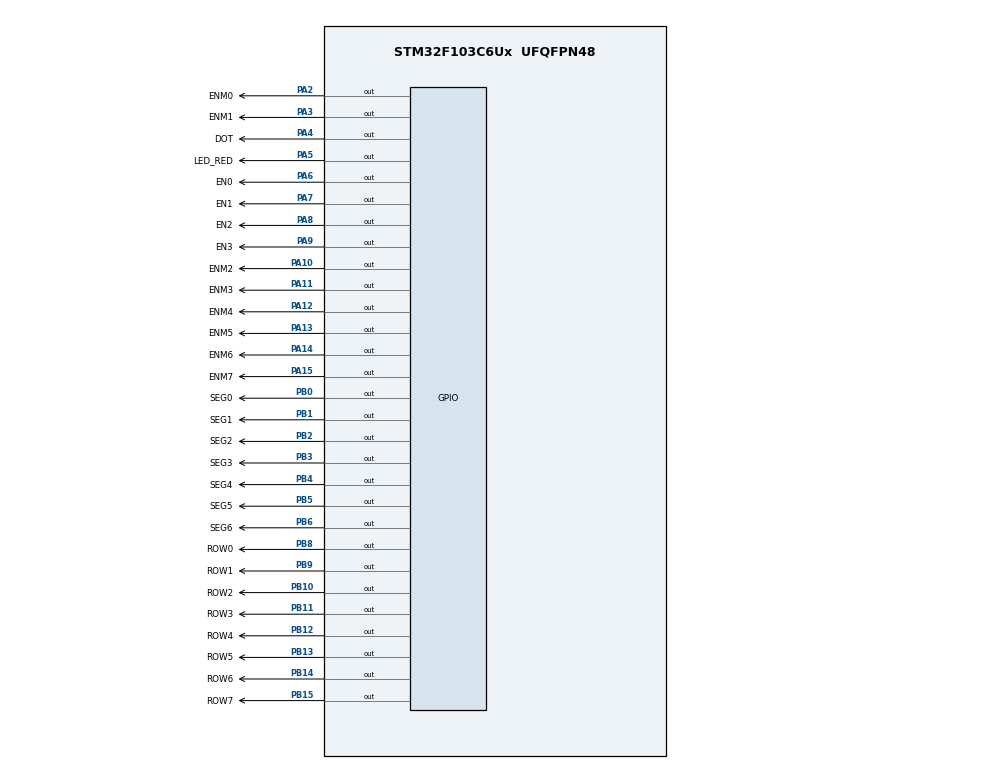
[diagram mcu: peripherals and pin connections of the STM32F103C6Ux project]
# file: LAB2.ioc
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Mcu.Family=STM32F1
Mcu.Name=STM32F103C6Ux
Mcu.Package=UFQFPN48
NVIC.PriorityGroup=NVIC_PRIORITYGROUP_4
NVIC.TIM2_IRQn=true\:0\:0\:false\:false\:true\:true\:true\:true
PA10.GPIO_Label=ENM2
PA10.Signal=GPIO_Output
PA11.GPIO_Label=ENM3
PA11.Signal=GPIO_Output
PA12.GPIO_Label=ENM4
PA12.Signal=GPIO_Output
PA13.GPIO_Label=ENM5
PA13.Signal=GPIO_Output
PA14.GPIO_Label=ENM6
PA14.Signal=GPIO_Output
PA15.GPIO_Label=ENM7
PA15.Signal=GPIO_Output
PA2.GPIO_Label=ENM0
PA2.Signal=GPIO_Output
PA3.GPIO_Label=ENM1
PA3.Signal=GPIO_Output
PA4.GPIO_Label=DOT
PA4.Signal=GPIO_Output
PA5.GPIO_Label=LED_RED
PA5.Signal=GPIO_Output
PA6.GPIO_Label=EN0
PA6.Signal=GPIO_Output
PA7.GPIO_Label=EN1
PA7.Signal=GPIO_Output
PA8.GPIO_Label=EN2
PA8.Signal=GPIO_Output
PA9.GPIO_Label=EN3
PA9.Signal=GPIO_Output
PB0.GPIO_Label=SEG0
PB0.Signal=GPIO_Output
PB1.GPIO_Label=SEG1
PB1.Signal=GPIO_Output
PB10.GPIO_Label=ROW2
PB10.Signal=GPIO_Output
PB11.GPIO_Label=ROW3
PB11.Signal=GPIO_Output
PB12.GPIO_Label=ROW4
PB12.Signal=GPIO_Output
PB13.GPIO_Label=ROW5
PB13.Signal=GPIO_Output
PB14.GPIO_Label=ROW6
PB14.Signal=GPIO_Output
PB15.GPIO_Label=ROW7
PB15.Signal=GPIO_Output
PB2.GPIO_Label=SEG2
PB2.Signal=GPIO_Output
PB3.GPIO_Label=SEG3
PB3.Signal=GPIO_Output
PB4.GPIO_Label=SEG4
PB4.Signal=GPIO_Output
PB5.GPIO_Label=SEG5
PB5.Signal=GPIO_Output
PB6.GPIO_Label=SEG6
PB6.Signal=GPIO_Output
PB8.GPIO_Label=ROW0
PB8.Signal=GPIO_Output
PB9.GPIO_Label=ROW1
PB9.Signal=GPIO_Output
ProjectManager.HeapSize=0x200
ProjectManager.StackSize=0x400
ProjectManager.TargetToolchain=STM32CubeIDE
RCC.APB1Freq_Value=8000000
RCC.APB2Freq_Value=8000000
TIM2.Period=9
TIM2.Prescaler=7999
VP_SYS_VS_ND.Mode=No_Debug
VP_TIM2_VS_ClockSourceINT.Mode=Internal
board=custom

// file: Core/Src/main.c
/* USER CODE BEGIN Header */
/**
  ******************************************************************************
  * @file           : main.c
  * @brief          : Main program body
  ******************************************************************************
  * @attention
  *
  * Copyright (c) 2024 STMicroelectronics.
  * All rights reserved.
  *
  * This software is licensed under terms that can be found in the LICENSE file
  * in the root directory of this software component.
  * If no LICENSE file comes with this software, it is provided AS-IS.
  *
  ******************************************************************************
  */
/* USER CODE END Header */
#include "main.h"

/* USER CODE BEGIN Includes */
#include "software_timer.h"

/* USER CODE END Includes */

TIM_HandleTypeDef htim2;

void SystemClock_Config(void);
static void MX_GPIO_Init(void);
static void MX_TIM2_Init(void);

/* USER CODE BEGIN 0 */
void display7segLed(int num){
	switch(num){
	case 0:
		HAL_GPIO_WritePin(SEG0_GPIO_Port , SEG0_Pin ,  0 );
		HAL_GPIO_WritePin(SEG1_GPIO_Port , SEG1_Pin ,  0 );
		HAL_GPIO_WritePin(SEG2_GPIO_Port , SEG2_Pin ,  0 );
		HAL_GPIO_WritePin(SEG3_GPIO_Port , SEG3_Pin ,  0 );
		HAL_GPIO_WritePin(SEG4_GPIO_Port , SEG4_Pin ,  0 );
		HAL_GPIO_WritePin(SEG5_GPIO_Port , SEG5_Pin ,  0 );
		HAL_GPIO_WritePin(SEG6_GPIO_Port , SEG6_Pin ,  1 );
		break;
	case 1:
		HAL_GPIO_WritePin(SEG0_GPIO_Port , SEG0_Pin ,  1 );
		HAL_GPIO_WritePin(SEG1_GPIO_Port , SEG1_Pin ,  0 );
		HAL_GPIO_WritePin(SEG2_GPIO_Port , SEG2_Pin ,  0 );
		HAL_GPIO_WritePin(SEG3_GPIO_Port , SEG3_Pin ,  1 );
		HAL_GPIO_WritePin(SEG4_GPIO_Port , SEG4_Pin ,  1 );
		HAL_GPIO_WritePin(SEG5_GPIO_Port , SEG5_Pin ,  1 );
		HAL_GPIO_WritePin(SEG6_GPIO_Port , SEG6_Pin ,  1 );
		break;
	case 2:
		HAL_GPIO_WritePin(SEG0_GPIO_Port , SEG0_Pin ,  0 );
		HAL_GPIO_WritePin(SEG1_GPIO_Port , SEG1_Pin ,  0 );
		HAL_GPIO_WritePin(SEG2_GPIO_Port , SEG2_Pin ,  1 );
		HAL_GPIO_WritePin(SEG3_GPIO_Port , SEG3_Pin ,  0 );
		HAL_GPIO_WritePin(SEG4_GPIO_Port , SEG4_Pin ,  0 );
		HAL_GPIO_WritePin(SEG5_GPIO_Port , SEG5_Pin ,  1 );
		HAL_GPIO_WritePin(SEG6_GPIO_Port , SEG6_Pin ,  0 );
		break;
	case 3:
		HAL_GPIO_WritePin(SEG0_GPIO_Port , SEG0_Pin ,  0 );
		HAL_GPIO_WritePin(SEG1_GPIO_Port , SEG1_Pin ,  0 );
		HAL_GPIO_WritePin(SEG2_GPIO_Port , SEG2_Pin ,  0 );
		HAL_GPIO_WritePin(SEG3_GPIO_Port , SEG3_Pin ,  0 );
		HAL_GPIO_WritePin(SEG4_GPIO_Port , SEG4_Pin ,  1 );
		HAL_GPIO_WritePin(SEG5_GPIO_Port , SEG5_Pin ,  1 );
		HAL_GPIO_WritePin(SEG6_GPIO_Port , SEG6_Pin ,  0 );
		break;
	case 4:
		HAL_GPIO_WritePin(SEG0_GPIO_Port , SEG0_Pin ,  1 );
		HAL_GPIO_WritePin(SEG1_GPIO_Port , SEG1_Pin ,  0 );
		HAL_GPIO_WritePin(SEG2_GPIO_Port , SEG2_Pin ,  0 );
		HAL_GPIO_WritePin(SEG3_GPIO_Port , SEG3_Pin ,  1 );
		HAL_GPIO_WritePin(SEG4_GPIO_Port , SEG4_Pin ,  1 );
		HAL_GPIO_WritePin(SEG5_GPIO_Port , SEG5_Pin ,  0 );
		HAL_GPIO_WritePin(SEG6_GPIO_Port , SEG6_Pin ,  0 );
		break;
	case 5:
	      HAL_GPIO_WritePin(SEG0_GPIO_Port , SEG0_Pin , 0);
	      HAL_GPIO_WritePin(SEG1_GPIO_Port , SEG1_Pin , 1);
	      HAL_GPIO_WritePin(SEG2_GPIO_Port , SEG2_Pin , 0);
	      HAL_GPIO_WritePin(SEG3_GPIO_Port , SEG3_Pin , 0);
	      HAL_GPIO_WritePin(SEG4_GPIO_Port , SEG4_Pin , 1);
	      HAL_GPIO_WritePin(SEG5_GPIO_Port , SEG5_Pin , 0);
	      HAL_GPIO_WritePin(SEG6_GPIO_Port , SEG6_Pin , 0);
	      break;
	  case 6:
	      HAL_GPIO_WritePin(SEG0_GPIO_Port , SEG0_Pin , 0);
	      HAL_GPIO_WritePin(SEG1_GPIO_Port , SEG1_Pin , 1);
	      HAL_GPIO_WritePin(SEG2_GPIO_Port , SEG2_Pin , 0);
	      HAL_GPIO_WritePin(SEG3_GPIO_Port , SEG3_Pin , 0);
	      HAL_GPIO_WritePin(SEG4_GPIO_Port , SEG4_Pin , 0);
	      HAL_GPIO_WritePin(SEG5_GPIO_Port , SEG5_Pin , 0);
	      HAL_GPIO_WritePin(SEG6_GPIO_Port , SEG6_Pin , 0);
	      break;
	  case 7:
	      HAL_GPIO_WritePin(SEG0_GPIO_Port , SEG0_Pin , 0);
	      HAL_GPIO_WritePin(SEG1_GPIO_Port , SEG1_Pin , 0);
	      HAL_GPIO_WritePin(SEG2_GPIO_Port , SEG2_Pin , 0);
	      HAL_GPIO_WritePin(SEG3_GPIO_Port , SEG3_Pin , 1);
	      HAL_GPIO_WritePin(SEG4_GPIO_Port , SEG4_Pin , 1);
	      HAL_GPIO_WritePin(SEG5_GPIO_Port , SEG5_Pin , 1);
	      HAL_GPIO_WritePin(SEG6_GPIO_Port , SEG6_Pin , 1);
	      break;
	  case 8:
	      HAL_GPIO_WritePin(SEG0_GPIO_Port , SEG0_Pin , 0);
	      HAL_GPIO_WritePin(SEG1_GPIO_Port , SEG1_Pin , 0);
	      HAL_GPIO_WritePin(SEG2_GPIO_Port , SEG2_Pin, 0);
	      HAL_GPIO_WritePin(SEG3_GPIO_Port , SEG3_Pin  , 0);
	      HAL_GPIO_WritePin(SEG4_GPIO_Port , SEG4_Pin , 0);
	      HAL_GPIO_WritePin(SEG5_GPIO_Port , SEG5_Pin , 0);
	      HAL_GPIO_WritePin(SEG6_GPIO_Port , SEG6_Pin , 0);
	      break;
	  case 9:
	      HAL_GPIO_WritePin(SEG0_GPIO_Port , SEG0_Pin , 0);
	      HAL_GPIO_WritePin(SEG1_GPIO_Port , SEG1_Pin , 0);
	      HAL_GPIO_WritePin(SEG2_GPIO_Port , SEG2_Pin , 0);
	      HAL_GPIO_WritePin(SEG3_GPIO_Port , SEG3_Pin , 0);
	      HAL_GPIO_WritePin(SEG4_GPIO_Port , SEG4_Pin , 1);
	      HAL_GPIO_WritePin(SEG5_GPIO_Port , SEG5_Pin , 0);
	      HAL_GPIO_WritePin(SEG6_GPIO_Port , SEG6_Pin , 0);
	      break;
	default:
		break;
	}
}

int led_buffer[4] = {1, 2, 3, 4};
int hour = 15 , minute = 8 , second = 50;

void update7SEG(int index){
	switch(index){
	case 0:
        HAL_GPIO_WritePin(EN0_GPIO_Port, EN0_Pin, 0); // Bật LED 1
        HAL_GPIO_WritePin(EN1_GPIO_Port, EN1_Pin, 1);   // Tắt LED 2
        HAL_GPIO_WritePin(EN2_GPIO_Port, EN2_Pin, 1);   // Tắt LED 3
        HAL_GPIO_WritePin(EN3_GPIO_Port, EN3_Pin, 1);   // Tắt LED 4
        display7segLed(led_buffer[0]);
        break;
	case 1:
        HAL_GPIO_WritePin(EN0_GPIO_Port, EN0_Pin, 1); // Bật LED 1
        HAL_GPIO_WritePin(EN1_GPIO_Port, EN1_Pin, 0);   // Tắt LED 2
        HAL_GPIO_WritePin(EN2_GPIO_Port, EN2_Pin, 1);   // Tắt LED 3
        HAL_GPIO_WritePin(EN3_GPIO_Port, EN3_Pin, 1);   // Tắt LED 4
        display7segLed(led_buffer[1]);
        break;
	case 2:
        HAL_GPIO_WritePin(EN0_GPIO_Port, EN0_Pin, 1); // Bật LED 1
        HAL_GPIO_WritePin(EN1_GPIO_Port, EN1_Pin, 1);   // Tắt LED 2
        HAL_GPIO_WritePin(EN2_GPIO_Port, EN2_Pin, 0);   // Tắt LED 3
        HAL_GPIO_WritePin(EN3_GPIO_Port, EN3_Pin, 1);   // Tắt LED 4
        display7segLed(led_buffer[2]);
        break;
	case 3:
        HAL_GPIO_WritePin(EN0_GPIO_Port, EN0_Pin, 1); // Bật LED 1
        HAL_GPIO_WritePin(EN1_GPIO_Port, EN1_Pin, 1);   // Tắt LED 2
        HAL_GPIO_WritePin(EN2_GPIO_Port, EN2_Pin, 1);   // Tắt LED 3
        HAL_GPIO_WritePin(EN3_GPIO_Port, EN3_Pin, 0);   // Tắt LED 4
        display7segLed(led_buffer[3]);
        break;
        default:
        break;

	}
}

void updateClockBuffer(){
	led_buffer[0] = hour/10;
	led_buffer[1] = hour%10;
	led_buffer[2] = minute/10;
	led_buffer[3] = minute%10;
}

const int MAX_LED_MATRIX = 8;
int index_led_matrix = 0;
uint8_t matrix_buffer[8] = {0xE7, 0xC3, 0x99, 0x99, 0x81, 0x81, 0x99, 0x99};

void displayLEDMatrix(uint8_t index){
    HAL_GPIO_WritePin(ENM0_GPIO_Port, ENM0_Pin, (index >> 0) & 1);
    HAL_GPIO_WritePin(ENM1_GPIO_Port, ENM1_Pin, (index >> 1) & 1);
    HAL_GPIO_WritePin(ENM2_GPIO_Port, ENM2_Pin, (index >> 2) & 1);
    HAL_GPIO_WritePin(ENM3_GPIO_Port, ENM3_Pin, (index >> 3) & 1);
    HAL_GPIO_WritePin(ENM4_GPIO_Port, ENM4_Pin, (index >> 4) & 1);
    HAL_GPIO_WritePin(ENM5_GPIO_Port, ENM5_Pin, (index >> 5) & 1);
    HAL_GPIO_WritePin(ENM6_GPIO_Port, ENM6_Pin, (index >> 6) & 1);
    HAL_GPIO_WritePin(ENM7_GPIO_Port, ENM7_Pin, (index >> 7) & 1);
}

void updateLEDMatrix(int index){
    switch (index){
    case 0:
        HAL_GPIO_WritePin(GPIOB, ROW1_Pin | ROW2_Pin | ROW3_Pin | ROW4_Pin | ROW5_Pin | ROW6_Pin | ROW7_Pin, 1);
        HAL_GPIO_WritePin(GPIOB, ROW0_Pin, 0);
        displayLEDMatrix(matrix_buffer[index]);
        break;
    case 1:
        HAL_GPIO_WritePin(GPIOB, ROW0_Pin | ROW2_Pin | ROW3_Pin | ROW4_Pin | ROW5_Pin | ROW6_Pin | ROW7_Pin, 1);
        HAL_GPIO_WritePin(GPIOB, ROW1_Pin, 0);
        displayLEDMatrix(matrix_buffer[index]);
        break;
    case 2:
        HAL_GPIO_WritePin(GPIOB, ROW0_Pin | ROW1_Pin | ROW3_Pin | ROW4_Pin | ROW5_Pin | ROW6_Pin | ROW7_Pin, 1);
        HAL_GPIO_WritePin(GPIOB, ROW2_Pin, 0);
        displayLEDMatrix(matrix_buffer[index]);
        break;
    case 3:
        HAL_GPIO_WritePin(GPIOB, ROW0_Pin | ROW1_Pin | ROW2_Pin | ROW4_Pin | ROW5_Pin | ROW6_Pin | ROW7_Pin, 1);
        HAL_GPIO_WritePin(GPIOB, ROW3_Pin, 0);
        displayLEDMatrix(matrix_buffer[index]);
        break;
    case 4:
        HAL_GPIO_WritePin(GPIOB, ROW0_Pin | ROW1_Pin | ROW2_Pin | ROW3_Pin | ROW5_Pin | ROW6_Pin | ROW7_Pin, 1);
        HAL_GPIO_WritePin(GPIOB, ROW4_Pin, 0);
        displayLEDMatrix(matrix_buffer[index]);
        break;
    case 5:
        HAL_GPIO_WritePin(GPIOB, ROW0_Pin | ROW1_Pin | ROW2_Pin | ROW3_Pin | ROW4_Pin | ROW6_Pin | ROW7_Pin, 1);
        HAL_GPIO_WritePin(GPIOB, ROW5_Pin, 0);
        displayLEDMatrix(matrix_buffer[index]);
        break;
    case 6:
        HAL_GPIO_WritePin(GPIOB, ROW0_Pin | ROW1_Pin | ROW2_Pin | ROW3_Pin | ROW4_Pin | ROW5_Pin | ROW7_Pin, 1);
        HAL_GPIO_WritePin(GPIOB, ROW6_Pin, 0);
        displayLEDMatrix(matrix_buffer[index]);
        break;
    case 7:
        HAL_GPIO_WritePin(GPIOB, ROW0_Pin | ROW1_Pin | ROW2_Pin | ROW3_Pin | ROW4_Pin | ROW5_Pin | ROW6_Pin, 1);
        HAL_GPIO_WritePin(GPIOB, ROW7_Pin, 0);
        displayLEDMatrix(matrix_buffer[index]);
        break;
    default:
        break;
    }
}

/* USER CODE END 0 */

int main(void)
{

  /* MCU Configuration--------------------------------------------------------*/

  /* Reset of all peripherals, Initializes the Flash interface and the Systick. */
  HAL_Init();

  /* Configure the system clock */
  SystemClock_Config();

  /* Initialize all configured peripherals */
  MX_GPIO_Init();
  MX_TIM2_Init();
  /* USER CODE BEGIN 2 */
  HAL_TIM_Base_Start_IT(&htim2);
  /* USER CODE END 2 */

  /* Infinite loop */
  /* USER CODE BEGIN WHILE */
//

HAL_GPIO_WritePin(DOT_GPIO_Port , DOT_Pin , 0);
HAL_GPIO_WritePin(LED_RED_GPIO_Port , LED_RED_Pin , 0);
int index_led = 0;

setTimer1(250);
setTimer2(250);
setTimer0(250);

  while (1)
  {
	  if(timer2_flag == 1){
		  HAL_GPIO_TogglePin(DOT_GPIO_Port , DOT_Pin);
		  HAL_GPIO_TogglePin(LED_RED_GPIO_Port , LED_RED_Pin);
		  second++;
		  		  if(second>=60){
		  			  second = 0;
		  			  minute++;
		  		  }
		  		  if(minute>=60){
		  			  minute = 0;
		  			  hour++;
		  		  }
		  		  if(hour>=24){
		  			  hour = 0;
		  		  }
		  		  updateClockBuffer ();
		  		  setTimer2(500);

	  }

	  if(timer1_flag == 1){
		  setTimer1(250);
		  update7SEG(index_led);
		  index_led++;
		  if(index_led >= 4){
			 index_led=0;
		  }
	  }

	  if(timer0_flag == 1){
		  updateLEDMatrix(index_led_matrix);
		      	  ++index_led_matrix;
		      	  if (index_led_matrix >= MAX_LED_MATRIX) {
		      		  index_led_matrix = 0;
		      	  }
		      	  setTimer0(10);
	  }

    /* USER CODE END WHILE */

  }
}

void SystemClock_Config(void)
{
  RCC_OscInitTypeDef RCC_OscInitStruct = {0};
  RCC_ClkInitTypeDef RCC_ClkInitStruct = {0};

  /** Initializes the RCC Oscillators according to the specified parameters
  * in the RCC_OscInitTypeDef structure.
  */
  RCC_OscInitStruct.OscillatorType = RCC_OSCILLATORTYPE_HSI;
  RCC_OscInitStruct.HSIState = RCC_HSI_ON;
  RCC_OscInitStruct.HSICalibrationValue = RCC_HSICALIBRATION_DEFAULT;
  RCC_OscInitStruct.PLL.PLLState = RCC_PLL_NONE;
  if (HAL_RCC_OscConfig(&RCC_OscInitStruct) != HAL_OK)
  {
    Error_Handler();
  }

  /** Initializes the CPU, AHB and APB buses clocks
  */
  RCC_ClkInitStruct.ClockType = RCC_CLOCKTYPE_HCLK|RCC_CLOCKTYPE_SYSCLK
                              |RCC_CLOCKTYPE_PCLK1|RCC_CLOCKTYPE_PCLK2;
  RCC_ClkInitStruct.SYSCLKSource = RCC_SYSCLKSOURCE_HSI;
  RCC_ClkInitStruct.AHBCLKDivider = RCC_SYSCLK_DIV1;
  RCC_ClkInitStruct.APB1CLKDivider = RCC_HCLK_DIV1;
  RCC_ClkInitStruct.APB2CLKDivider = RCC_HCLK_DIV1;

  if (HAL_RCC_ClockConfig(&RCC_ClkInitStruct, FLASH_LATENCY_0) != HAL_OK)
  {
    Error_Handler();
  }
}

static void MX_TIM2_Init(void)
{

  TIM_ClockConfigTypeDef sClockSourceConfig = {0};
  TIM_MasterConfigTypeDef sMasterConfig = {0};

  htim2.Instance = TIM2;
  htim2.Init.Prescaler = 7999;
  htim2.Init.CounterMode = TIM_COUNTERMODE_UP;
  htim2.Init.Period = 9;
  htim2.Init.ClockDivision = TIM_CLOCKDIVISION_DIV1;
  htim2.Init.AutoReloadPreload = TIM_AUTORELOAD_PRELOAD_DISABLE;
  if (HAL_TIM_Base_Init(&htim2) != HAL_OK)
  {
    Error_Handler();
  }
  sClockSourceConfig.ClockSource = TIM_CLOCKSOURCE_INTERNAL;
  if (HAL_TIM_ConfigClockSource(&htim2, &sClockSourceConfig) != HAL_OK)
  {
    Error_Handler();
  }
  sMasterConfig.MasterOutputTrigger = TIM_TRGO_RESET;
  sMasterConfig.MasterSlaveMode = TIM_MASTERSLAVEMODE_DISABLE;
  if (HAL_TIMEx_MasterConfigSynchronization(&htim2, &sMasterConfig) != HAL_OK)
  {
    Error_Handler();
  }

}

static void MX_GPIO_Init(void)
{
  GPIO_InitTypeDef GPIO_InitStruct = {0};

  /* GPIO Ports Clock Enable */
  __HAL_RCC_GPIOA_CLK_ENABLE();
  __HAL_RCC_GPIOB_CLK_ENABLE();

  /*Configure GPIO pin Output Level */
  HAL_GPIO_WritePin(GPIOA, ENM0_Pin|ENM1_Pin|DOT_Pin|LED_RED_Pin
                          |EN0_Pin|EN1_Pin|EN2_Pin|EN3_Pin
                          |ENM2_Pin|ENM3_Pin|ENM4_Pin|ENM5_Pin
                          |ENM6_Pin|ENM7_Pin, GPIO_PIN_RESET);

  /*Configure GPIO pin Output Level */
  HAL_GPIO_WritePin(GPIOB, SEG0_Pin|SEG1_Pin|SEG2_Pin|ROW2_Pin
                          |ROW3_Pin|ROW4_Pin|ROW5_Pin|ROW6_Pin
                          |ROW7_Pin|SEG3_Pin|SEG4_Pin|SEG5_Pin
                          |SEG6_Pin|ROW0_Pin|ROW1_Pin, GPIO_PIN_RESET);

  /*Configure GPIO pins : ENM0_Pin ENM1_Pin DOT_Pin LED_RED_Pin
                           EN0_Pin EN1_Pin EN2_Pin EN3_Pin
                           ENM2_Pin ENM3_Pin ENM4_Pin ENM5_Pin
                           ENM6_Pin ENM7_Pin */
  GPIO_InitStruct.Pin = ENM0_Pin|ENM1_Pin|DOT_Pin|LED_RED_Pin
                          |EN0_Pin|EN1_Pin|EN2_Pin|EN3_Pin
                          |ENM2_Pin|ENM3_Pin|ENM4_Pin|ENM5_Pin
                          |ENM6_Pin|ENM7_Pin;
  GPIO_InitStruct.Mode = GPIO_MODE_OUTPUT_PP;
  GPIO_InitStruct.Pull = GPIO_NOPULL;
  GPIO_InitStruct.Speed = GPIO_SPEED_FREQ_LOW;
  HAL_GPIO_Init(GPIOA, &GPIO_InitStruct);

  /*Configure GPIO pins : SEG0_Pin SEG1_Pin SEG2_Pin ROW2_Pin
                           ROW3_Pin ROW4_Pin ROW5_Pin ROW6_Pin
                           ROW7_Pin SEG3_Pin SEG4_Pin SEG5_Pin
                           SEG6_Pin ROW0_Pin ROW1_Pin */
  GPIO_InitStruct.Pin = SEG0_Pin|SEG1_Pin|SEG2_Pin|ROW2_Pin
                          |ROW3_Pin|ROW4_Pin|ROW5_Pin|ROW6_Pin
                          |ROW7_Pin|SEG3_Pin|SEG4_Pin|SEG5_Pin
                          |SEG6_Pin|ROW0_Pin|ROW1_Pin;
  GPIO_InitStruct.Mode = GPIO_MODE_OUTPUT_PP;
  GPIO_InitStruct.Pull = GPIO_NOPULL;
  GPIO_InitStruct.Speed = GPIO_SPEED_FREQ_LOW;
  HAL_GPIO_Init(GPIOB, &GPIO_InitStruct);

}

/* USER CODE BEGIN 4 */
void HAL_TIM_PeriodElapsedCallback(TIM_HandleTypeDef *htim){
    timerRun();
}

/* USER CODE END 4 */

void Error_Handler(void)
{
  __disable_irq();
  while (1)
  {
  }
}
